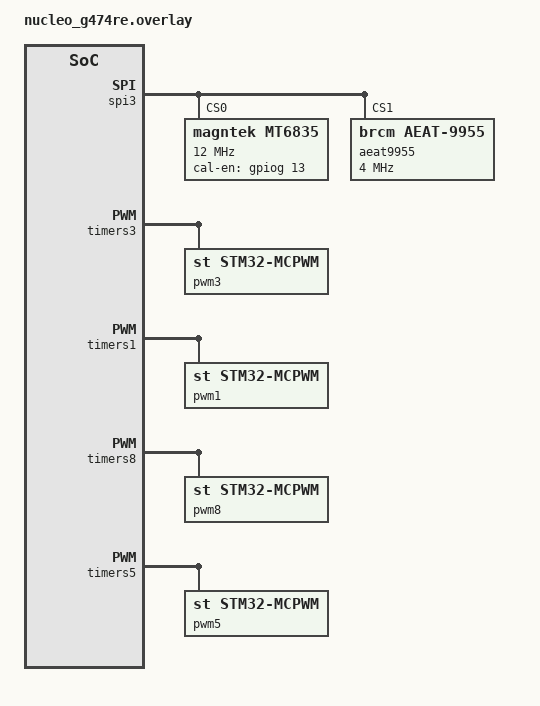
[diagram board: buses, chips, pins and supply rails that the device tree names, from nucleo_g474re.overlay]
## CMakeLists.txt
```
#-------------------------------------------------------------------------------
# Zephyr Example Application
#
# Copyright (c) 2021 Nordic Semiconductor ASA
# SPDX-License-Identifier: Apache-2.0

cmake_minimum_required(VERSION 3.13.1)
find_package(Zephyr REQUIRED HINTS $ENV{ZEPHYR_BASE})

project(app LANGUAGES C)

add_subdirectory(${CMAKE_CURRENT_LIST_DIR}/../modules/motor_core
		 ${CMAKE_CURRENT_BINARY_DIR}/motor_core)

target_sources(app PRIVATE 
	src/main.c
	src/app_update.c
	src/config.c
	src/shell/shell_commands.c
	src/shell/shell_params.c
	src/shell/shell_current.c
	src/shell/shell_velocity.c
	src/shell/shell_position.c
	src/shell/shell_regulators.c
	src/shell/shell_settings.c
	src/motor_settings.c
	src/motor_chopper_map.c
	src/shell/shell_state.c
	src/shell/shell_safety.c
	src/shell/shell_gate.c
	src/shell/shell_info.c
	src/shell/shell_observer.c
	src/shell/shell_encoder.c
	src/shell/shell_encoder_protocol.c
	src/shell/shell_encoder_trace.c
	src/shell/shell_encoder_capture.c
	src/shell/shell_fault.c
	src/shell/shell_parse.c
	src/shell/shell_motion_profile.c
	src/shell/shell_motion_sequence.c
	src/shell/shell_motion_chopper_calib.c
	src/shell/shell_motion_commission.c
	src/shell/shell_commission_auto.c
	src/shell/shell_commission_detent.c
	src/shell/shell_commission_ripple.c
	src/shell/shell_commission_electrical.c
	src/shell/shell_commission_encoder.c
	src/shell/shell_commission_validate.c
	src/motor_control_api.c
	src/motor_encoder_control.c
	src/motor_encoder_acquisition.c
	src/motor_operating_mode.c
	src/motor_state_transition.c
	src/motor_control_telemetry.c
	src/motor_control_loop.c
	src/motor_isr_io.c
	src/motor_states.c
	src/motor_states_calibration.c
	src/motor_states_online.c
	src/motor_hardware.c
)
target_include_directories(app PRIVATE
	include
)

target_link_libraries(app PRIVATE motor_core)

# Place interrupt stack in fast memory using code relocation
# The z_interrupt_stacks is in noinit sections from kernel/init.c
if(CONFIG_BOARD_NUCLEO_H753ZI OR CONFIG_BOARD_SMARTSTEPPER_V2)
  # H7 boards: relocate kernel init.c noinit to DTCM (includes z_interrupt_stacks)
  zephyr_code_relocate(FILES ${ZEPHYR_BASE}/kernel/init.c LOCATION DTCM_NOINIT)
elseif(CONFIG_BOARD_SMARTSTEPPER)
  # F4 board: relocate kernel init.c noinit to CCM (includes z_interrupt_stacks)  
  zephyr_code_relocate(FILES ${ZEPHYR_BASE}/kernel/init.c LOCATION CCM_NOINIT)
endif()
```

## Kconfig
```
# Copyright (c) 2021 Nordic Semiconductor ASA
# SPDX-License-Identifier: Apache-2.0
#
# This file is the application Kconfig entry point. All application Kconfig
# options can be defined here or included via other application Kconfig files.
# You can browse these options using the west targets menuconfig (terminal) or
# guiconfig (GUI).

menu "Zephyr"
source "Kconfig.zephyr"
endmenu

module = APP
module-str = APP
source "subsys/logging/Kconfig.template.log_config"

menu "Motor Control"

config RLS_PARAMETER_ESTIMATION
	bool "Enable RLS online parameter estimation"
	default n
	help
	  Enable Recursive Least Squares (RLS) online parameter estimation
	  for motor inductance and resistance. This feature uses PRBS excitation
	  and real-time RLS filtering to estimate motor parameters during operation.
	  Currently not functioning - disabled for future development.

config ENCODER_MAGNET_CHECK_ON_ARM
	bool "Block arm when AEAT-9955 reports MHI/MLO alarm"
	default n
	help
	  If enabled, `motor arm` reads AEAT-9955 error status register 0x29
	  and rejects arming when MHI or MLO alarm bits are set.
	  Keep disabled for bring-up if magnet alignment/strength is not finalized.

config MOTOR_CURRENT_DECOUPLING
	bool "Enable d/q decoupling and back-EMF feedforward"
	default n
	help
	  Adds model-based feedforward terms to the d-axis and q-axis current loops:
	  vd_ff = -omega_e * Lq * iq and
	  vq_ff =  omega_e * (Ld * id + psi_f).

config MOTOR_VELOCITY_NOTCH_FILTER
	bool "Enable velocity feedback notch filter"
	default n
	help
	  Enables a second-order notch filter on measured mechanical speed
	  before velocity error computation.

config MOTOR_VELOCITY_NOTCH_FREQ_HZ
	int "Velocity notch center frequency (Hz)"
	default 300
	range 1 5000
	depends on MOTOR_VELOCITY_NOTCH_FILTER
	help
	  Center frequency of the velocity notch filter.

config MOTOR_VELOCITY_NOTCH_Q_MILLI
	int "Velocity notch Q x1000"
	default 2000
	range 100 20000
	depends on MOTOR_VELOCITY_NOTCH_FILTER
	help
	  Notch filter quality factor scaled by 1000.
	  Example: 2000 => Q = 2.0.

config MOTOR_OUTER_LOOP_MPR
	bool "Use model-predictive outer loops (velocity + position)"
	default y
	help
	  Enables SpinTAC-style model predictive regulators for the velocity and
	  position outer loops. Disable to use legacy PI outer loops.

config MOTOR_OUTER_LOOP_MPR_RUNTIME_DEFAULT
	bool "Default runtime outer loop to MPR"
	depends on MOTOR_OUTER_LOOP_MPR
	default n
	help
	  Selects MPR as the boot-time runtime outer-loop mode. Leave this
	  disabled for bring-up and uncommissioned hardware so encoder velocity
	  modes start with the simpler PI regulator. MPR can still be enabled at
	  runtime with motor params set outer_loop_mode 1.

config MOTOR_VELOCITY_DOB
	bool "Enable velocity disturbance observer"
	default y
	help
	  Enables the velocity-loop disturbance observer and Iq feedforward
	  compensation path. Disable this in minimal builds to remove DOB work
	  from the ISR outer-loop path.

config MOTOR_VELOCITY_DOB_RUNTIME_DEFAULT
	bool "Default runtime velocity DOB to enabled"
	depends on MOTOR_VELOCITY_DOB
	default n
	help
	  Selects whether the velocity disturbance observer is enabled at boot.
	  Leave this disabled until mechanical parameters and observer gains are
	  commissioned. DOB can still be enabled at runtime with
	  motor velocity dob enable 1.

config MOTOR_ISR_COMMISSION_CAPTURE
	bool "Enable ISR commissioning capture updates"
	default y
	help
	  Enables control-loop observation capture for explicit commissioning
	  workflows. Disable in production/minimal builds if commissioning is not
	  compiled into the target workflow.

config MOTOR_ISR_ENCODER_CAPTURE
	bool "Enable ISR encoder capture telemetry"
	default y
	help
	  Enables the operator-triggered encoder comparison capture path in the
	  control loop. Disable to compile capture preparation out of the ISR.

config MOTOR_ISR_ENCODER_RAW_TRACE
	bool "Enable ISR raw encoder trace telemetry"
	default y
	help
	  Enables the operator-triggered raw encoder trace path in the control
	  loop. Disable to compile raw trace publication out of the ISR.

config MOTOR_ISR_FAULT_SNAPSHOT
	bool "Enable ISR fault snapshot telemetry"
	default y
	help
	  Enables operator-triggered fault snapshot packing in the control loop.
	  Disable in production/minimal builds to remove this telemetry path.

config MOTOR_ISR_SANITY_CHECKS
	bool "Enable runtime finite/sanity checks in ISR control path"
	default y
	help
	  Enables finite-value guards in the fast ISR control path.
	  Keep enabled during bring-up/debugging for fault containment.
	  Disable in performance-focused builds to remove redundant hot-path checks
	  after the signal chain and configuration are validated.

endmenu

menu "Field Update"

config APP_UPDATE_AUTO_CONFIRM_AFTER_BOOT
	bool "Automatically confirm MCUboot test image after boot delay"
	depends on BOOTLOADER_MCUBOOT
	default n
	help
	  If enabled, the application confirms a pending MCUboot test image after
	  APP_UPDATE_AUTO_CONFIRM_DELAY_MS. Leave this disabled for bring-up and
	  validation so an unconfirmed field-update image rolls back unless an
	  operator explicitly runs `mcuboot confirm`.

config APP_UPDATE_AUTO_CONFIRM_DELAY_MS
	int "Delay before automatically confirming a test image"
	depends on APP_UPDATE_AUTO_CONFIRM_AFTER_BOOT
	default 30000
	range 1000 600000
	help
	  Delay after app init before writing image_ok in the MCUboot trailer.
	  This gives basic init, networking, and motor safety checks time to fail
	  before the image is made permanent.

endmenu
```

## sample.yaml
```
# This file is provided so that the application can be compiled using Twister,
# the Zephyr testing tool. In this file, multiple combinations can be specified,
# so that you can easily test all of them locally or in CI.
sample:
  description: Example application
  name: example-application 
common:
  build_only: true
  integration_platforms:
    - smartchopper
tests:
  app.default: {}
  app.debug:
    extra_overlay_confs:
      - debug.conf
```

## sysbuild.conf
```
# Enable MCUboot when this application is built with `west build --sysbuild`.
SB_CONFIG_BOOTLOADER_MCUBOOT=y

# Development/HIL signing path. This avoids the RSA/mbedTLS path and uses the
# MCUboot development ECDSA-P256 key. Production must override this key policy.
SB_CONFIG_BOOT_SIGNATURE_TYPE_ECDSA_P256=y

# Keep the first field-update implementation revert-capable without a scratch
# partition. The app must confirm a pending image after health checks.
SB_CONFIG_MCUBOOT_MODE_SWAP_USING_OFFSET=y
```

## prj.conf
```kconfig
# Copyright (c) 2025 Rubus Technologies Inc
# SPDX-License-Identifier: Apache-2.0
#
# This file contains selected Kconfig options for the application.

CONFIG_BOOT_BANNER=y
CONFIG_BOOT_DELAY=2000

# The Cortex-M CONFIG_USE_SWITCH path faults in arm-m-switch.c when the
# zero-latency ADC FOC ISR uses the FPU while shell/kernel FP activity is
# active. Use the legacy exception/swap path for this hard-real-time FPU ISR.
# CONFIG_USE_SWITCH is not set

CONFIG_GPIO=y
CONFIG_I2C=y
CONFIG_SPI=y
CONFIG_DMA=y
CONFIG_EEPROM=y
CONFIG_FLASH=y
CONFIG_HWINFO=y
CONFIG_RESET=y
CONFIG_SENSOR=y
CONFIG_PWM=y
CONFIG_GATE_DRIVER=y
CONFIG_TIMER_IC=y

# Persistent configuration storage. Commissioned motor parameters should use
# the Settings subsystem with ZMS on the internal-flash settings partition.
CONFIG_SETTINGS=y
CONFIG_FLASH_MAP=y
CONFIG_ZMS=y
CONFIG_SETTINGS_ZMS=y
CONFIG_SETTINGS_SHELL=y

# MCUboot field-update support. Sysbuild builds/signs the bootloader-managed
# image; these options provide runtime image upload/status/confirmation support
# in the application.
CONFIG_NET_BUF=y
CONFIG_ZCBOR=y
CONFIG_CRC=y
CONFIG_STREAM_FLASH=y
CONFIG_IMG_MANAGER=y
CONFIG_IMG_ERASE_PROGRESSIVELY=y
CONFIG_IMG_ENABLE_IMAGE_CHECK=y
CONFIG_MCUBOOT_SHELL=y
CONFIG_MCUMGR=y
CONFIG_MCUMGR_GRP_IMG=y
CONFIG_MCUMGR_GRP_IMG_VERBOSE_ERR=y
CONFIG_MCUMGR_GRP_OS=y
CONFIG_MCUMGR_GRP_OS_INFO=y
CONFIG_MCUMGR_GRP_OS_BOOTLOADER_INFO=y
CONFIG_MCUMGR_GRP_OS_MCUMGR_PARAMS=y
CONFIG_MCUMGR_TRANSPORT_NETBUF_COUNT=4
CONFIG_MCUMGR_TRANSPORT_NETBUF_SIZE=2048
CONFIG_MCUMGR_TRANSPORT_WORKQUEUE_STACK_SIZE=3072

# CONFIG_SPI_STM32_USE_HW_SS=y
CONFIG_SPI_STM32_INTERRUPT=y

CONFIG_FPU=y
CONFIG_ZERO_LATENCY_IRQS=y
CONFIG_ZERO_LATENCY_LEVELS=1

# Timing functions for ISR performance measurement
CONFIG_TIMING_FUNCTIONS=y

CONFIG_CONSOLE=y
CONFIG_PRINTK=y

CONFIG_SHELL=y
# CONFIG_SHELL_MINIMAL=y
CONFIG_SHELL_STACK_SIZE=4096
CONFIG_SHELL_CMD_BUFF_SIZE=256
CONFIG_SHELL_PRINTF_BUFF_SIZE=256
CONFIG_SHELL_HELP=y
CONFIG_SHELL_HISTORY=y
CONFIG_SHELL_HISTORY_BUFFER=128
CONFIG_SHELL_TAB=y
CONFIG_SHELL_TAB_AUTOCOMPLETION=y

CONFIG_ADC_SHELL=y
CONFIG_SENSOR_SHELL=y
CONFIG_SPI_SHELL=y
CONFIG_I2C_SHELL=y
CONFIG_GPIO_SHELL=y
CONFIG_HWINFO_SHELL=y
CONFIG_FLASH_SHELL=y
CONFIG_EEPROM_SHELL=y

CONFIG_STATS=y
CONFIG_STATS_SHELL=y

CONFIG_DSP=y
CONFIG_CMSIS_DSP=y
CONFIG_CMSIS_DSP_CONTROLLER=y
CONFIG_CMSIS_DSP_FILTERING=y

CONFIG_RTIO=y
CONFIG_SPI_RTIO=y
CONFIG_SENSOR_ASYNC_API=y
CONFIG_RTIO_WORKQ_THREADS_POOL_STACK_SIZE=2048

CONFIG_SRAM_VECTOR_TABLE=y
CONFIG_SRAM_SW_ISR_TABLE=y

CONFIG_SMF=y
CONFIG_SMF_ANCESTOR_SUPPORT=y
CONFIG_SMF_INITIAL_TRANSITION=y

CONFIG_ISR_STACK_SIZE=4096

CONFIG_REBOOT=y
```

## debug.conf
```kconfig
# Copyright (c) 2021 Nordic Semiconductor ASA
# SPDX-License-Identifier: Apache-2.0
#
# This is a Kconfig fragment which can be used to enable debug-related options
# in the application. See the README for more details.

# compiler
CONFIG_DEBUG_OPTIMIZATIONS=y
# CONFIG_SPEED_OPTIMIZATIONS=y


# logging
CONFIG_LOG=y
CONFIG_APP_LOG_LEVEL_DBG=y

# Debug/HIL shell workflows can paste long motor profile commands and command
# bursts while the target is also printing logs. Keep these larger than
# production defaults to avoid serial RX overruns during bench validation.
CONFIG_SHELL_CMD_BUFF_SIZE=512
CONFIG_SHELL_HISTORY_BUFFER=1024
CONFIG_SHELL_BACKEND_SERIAL_RX_RING_BUFFER_SIZE=8192

CONFIG_CORTEX_M_DEBUG_MONITOR_HOOK=y
CONFIG_SEGGER_DEBUGMON=y
# CONFIG_NULL_POINTER_EXCEPTION_DETECTION_DWT=y
# CONFIG_NULL_POINTER_EXCEPTION_DETECTION_MPU=y
# CONFIG_PWM_LOG_LEVEL_DBG=y
```

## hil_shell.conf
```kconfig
# SPDX-License-Identifier: Apache-2.0
#
# Hardware-in-loop serial shell settings.
#
# Use this for real motor tests where command reliability matters but full
# debug logging/debug compiler settings are not desired.

CONFIG_SHELL_CMD_BUFF_SIZE=512
CONFIG_SHELL_HISTORY_BUFFER=1024
CONFIG_SHELL_BACKEND_SERIAL_RX_RING_BUFFER_SIZE=8192

# HIL control validation runs a full FOC path from a zero-latency ADC ISR
# and can also exercise shell float parsing while the ISR is active. Keep
# extra stack margin here while validating FPU preservation and trace paths.
CONFIG_ISR_STACK_SIZE=8192
CONFIG_SHELL_STACK_SIZE=8192
```

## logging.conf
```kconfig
CONFIG_LOG=y
CONFIG_LOG_CMDS=y
CONFIG_LOG_BUFFER_SIZE=4096
CONFIG_LOG_RATELIMIT=y
# CONFIG_LOG_BACKEND_SHOW_COLOR=n
# CONFIG_LOG_PROCESS_THREAD_STACK_SIZE=1024

# CONFIG_LOG_MODE_DEFERRED=y
# CONFIG_LOG_PROCESS_THREAD=y
# CONFIG_LOG_PROCESS_THREAD_SLEEP_MS=100
```

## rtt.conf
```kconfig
# Copyright (c) 2021 Nordic Semiconductor ASA
# SPDX-License-Identifier: Apache-2.0
#
# This is a Kconfig fragment which can be used to enable Segger RTT options.
# It should be used in conjunction with debug.conf.

# segger RTT console
CONFIG_LOG_MODE_DEFERRED=y
CONFIG_LOG_PROCESS_THREAD=y
CONFIG_LOG_PROCESS_THREAD_SLEEP_MS=100

CONFIG_RTT_CONSOLE=y
CONFIG_USE_SEGGER_RTT=y
CONFIG_LOG_BACKEND_RTT=y
CONFIG_LOG_BACKEND_UART=n
```

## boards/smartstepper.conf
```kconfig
# Copyright (c) 2025 Rubus Technologies Inc
# SPDX-License-Identifier: Apache-2.0
#
# This file contains selected Kconfig options for the application.

CONFIG_STM32_FLASH_PREFETCH=y
```

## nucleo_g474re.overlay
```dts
#include <zephyr/dt-bindings/timer/stm32-timer.h>
#include <zephyr/dt-bindings/pwm/pwm.h>
#include <dt-bindings/pwm/stm32-mcpwm.h>

&dmamux1 {
	status = "okay";
};

&dma1 {
	status = "okay";
};

&dma2 {
	status = "okay";
};

&spi3 {
	compatible = "rubus,stm32-spi";
	status = "okay";

	dmas = <&dmamux1 2 15 (STM32_DMA_PERIPH_TX | STM32_DMA_MEM_8BITS)>,
		   <&dmamux1 3 14 (STM32_DMA_PERIPH_RX | STM32_DMA_MEM_8BITS)>;

	dma-names = "tx", "rx";

	mt6835: mt6835@0 {
		compatible = "magntek,mt6835";
		reg = <0>;
		spi-max-frequency = <DT_FREQ_M(12)>;
		cal-en-gpios = <&gpiog 13 GPIO_ACTIVE_HIGH>;
		status = "okay";
	};
	aeat9955: aeat9955@1 {
		compatible = "brcm,aeat-9955";
		reg = <1>;
		spi-max-frequency = <DT_FREQ_M(4)>;
		status = "okay";
	};
};

/delete-node/ &pwm3;
&timers3 {
	compatible = "rubus,stm32-timers";
	st,prescaler = <0>;
	status = "okay";
	st,master-mode;
	st,countermode = <STM32_TIM_COUNTERMODE_UP>;
	st,master-mode-selection = <0x10>; // LL_TIM_TRGO_ENABLE

	pwm3:mcpwm {
		compatible = "st,stm32-mcpwm";
		period = <PWM_KHZ(20)>;
		status = "okay";
		#pwm-cells = <2>;
	};
};

&timers1 {
	compatible = "rubus,stm32-timers";
	st,prescaler = <0>;
	status = "okay";
	st,countermode = <STM32_TIM_COUNTERMODE_CENTER_UP_DOWN>;
	st,master-mode;
	st,slave-mode;
	st,slave-mode-selection = <0x6>; // LL_TIM_SLAVEMODE_TRIGGER
	st,trigger-selection = <0x20>; // ITR2

	st,master-mode-selection = <0x70>; // LL_TIM_TRGO_OC4REF

	pwm1:mcpwm {
		compatible = "st,stm32-mcpwm";
		pinctrl-0 = <&tim1_ch1_pa8 &tim1_ch4_pc3>;
		pinctrl-names = "default";
		period = <PWM_KHZ(20)>;
		status = "okay";
		#pwm-cells = <2>;
	};
};

&timers8 {
	compatible = "rubus,stm32-timers";
	st,prescaler = <0>;
	status = "okay";
	st,countermode = <STM32_TIM_COUNTERMODE_CENTER_UP_DOWN>;
	st,slave-mode;
	// st,slave-mode-selection = <0x4>; // LL_TIM_SLAVEMODE_RESET
	st,slave-mode-selection = <0x6>; // LL_TIM_SLAVEMODE_TRIGGER
	st,trigger-selection = <0x20>; // ITR2

	pwm8:mcpwm {
		compatible = "st,stm32-mcpwm";
		pinctrl-0 = <&tim8_ch1_pc6>;
		pinctrl-names = "default";
		period = <PWM_KHZ(20)>;
		status = "okay";
		#pwm-cells = <2>;
	};
};

&timers5 {
	compatible = "rubus,stm32-timers";
	st,prescaler = <0>;
	status = "okay";
	st,countermode = <STM32_TIM_COUNTERMODE_UP>;
	st,slave-mode;
	st,slave-mode-selection = <0x6>; // LL_TIM_SLAVEMODE_TRIGGER
	st,trigger-selection = <0x20>; // ITR2

	pwm5:mcpwm {
		compatible = "st,stm32-mcpwm";
		pinctrl-0 = <&tim5_ch1_pb2>;
		pinctrl-names = "default";
		period = <PWM_KHZ(20)>;
		status = "okay";
		#pwm-cells = <2>;
	};
};

/ {
		/* Current sampler config, ADC channels */
	/* FIXME: Add drv8328 driver */
	/* drv8328 needs function to wiggle SLEEP to reset an error */
	// Need to configure ADC trigger LL_TIM_CC_EnableChannel(config->timer, LL_TIM_CHANNEL_4)
	control {
		// ADC for current (A, B), bus voltage
		// adc-channels = <&adc1 0>,
		// 	<&adc1 1>,
		// 	<&adc1 5>;
		// current-sense-resistor-uohms = <10000>;
		// current-sense-gain = <50>;
		// phase-inductance-uh = <3400>;
		// phase-resistance-mohms = <5600>;

		current-sense-resistor-uohms = <10000>;
		current-sense-gain = <50>;
		phase-inductance-uh = <3000>;
		phase-resistance-mohms = <1600>;

		pwms = <&pwm1 4 (PWM_POLARITY_NORMAL | STM32_PWM_OC_MODE_PWM2)>;
		amp1 {
			compatible = "ti,drv8328";

			/* If FAULT interrupt is used instead of BRKIN */
			/* Fault interrupt should turn off PWM */
			// fault-gpios = <&gpioi 4 (GPIO_ACTIVE_LOW | GPIO_PULL_UP)>;

			// sleep-gpios = <&gpiog 14 GPIO_ACTIVE_HIGH>;

			pwms = <&pwm1 1 PWM_POLARITY_NORMAL>,
				   <&pwm1 2 PWM_POLARITY_NORMAL>;
		};

		amp2 {
			compatible = "ti,drv8328";

			/* If FAULT interrupt is used instead of BRKIN */
			// fault-gpios = <&gpiob 15 (GPIO_ACTIVE_LOW | GPIO_PULL_UP)>;

			// sleep-gpios = <&gpiod 8 GPIO_ACTIVE_HIGH>;

			pwms = <&pwm8 1 PWM_POLARITY_NORMAL>,
				   <&pwm8 2 PWM_POLARITY_NORMAL>;
		};
	};
};
```

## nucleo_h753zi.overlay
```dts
#include <zephyr/dt-bindings/timer/stm32-timer.h>
#include <zephyr/dt-bindings/pwm/pwm.h>
#include <dt-bindings/pwm/stm32-mcpwm.h>

/ {
	aliases {
		encoder1 = &aeat9955;
	};
};

&dmamux1 {
	status = "okay";
};

&dma1 {
	status = "okay";
};

&dma2 {
	status = "okay";
};

&spi3 {
	status = "okay";
	fifo-enable;

	pinctrl-0 = <&spi3_sck_pb3 &spi3_miso_pb4 &spi3_mosi_pb5 &spi3_nss_pa15>;
	// cs-gpios = <&gpioa 15 (GPIO_ACTIVE_LOW | GPIO_PULL_UP)>;
	pinctrl-names = "default";

	mt6835: mt6835@0 {
		compatible = "magntek,mt6835";
		reg = <0>;
		spi-max-frequency = <DT_FREQ_M(12)>;
		cal-en-gpios = <&gpiog 13 GPIO_ACTIVE_HIGH>;
		status = "okay";
	};
	aeat9955: aeat9955@1 {
		compatible = "brcm,aeat-9955";
		reg = <1>;
		spi-max-frequency = <DT_FREQ_M(4)>;
		status = "okay";
	};
};

// TIM1 is master for TIM3 and TIM8 synchronization
&timers1 {
	compatible = "rubus,stm32-timers";
	st,prescaler = <0>;
	status = "okay";
	st,countermode = <STM32_TIM_COUNTERMODE_CENTER_UP_DOWN>;
	st,master-mode;
	st,master-mode-selection = <0x10>; // LL_TIM_TRGO_ENABLE - sync TIM3 and TIM8

	pwm1:mcpwm {
		compatible = "st,stm32-mcpwm";
		pinctrl-0 = <&tim1_ch1_pa8 &tim1_ch2_pa9 &tim1_ch4_pe14>;
		pinctrl-names = "default";
		period = <PWM_KHZ(20)>;
		status = "okay";
		st,cc-dma-channels = <4>;
		#pwm-cells = <2>;
	};
};

// TIM3 is slave of TIM1
&timers3 {
	compatible = "rubus,stm32-timers";
	st,prescaler = <0>;
	status = "okay";
	st,countermode = <STM32_TIM_COUNTERMODE_UP>;
	st,slave-mode;
	st,slave-mode-selection = <0x6>; // LL_TIM_SLAVEMODE_TRIGGER
	st,trigger-selection = <0x00>; // ITR0 = TIM1

	pwm3:mcpwm {
		compatible = "st,stm32-mcpwm";
		pinctrl-0 = <&tim3_ch1_pc6>;
		pinctrl-names = "default";
		period = <PWM_KHZ(20)>;
		status = "okay";
		#pwm-cells = <2>;
	};
};

// TIM8 is slave of TIM1
&timers8 {
	compatible = "rubus,stm32-timers";
	st,prescaler = <0>;
	status = "okay";
	st,countermode = <STM32_TIM_COUNTERMODE_CENTER_UP_DOWN>;
	st,slave-mode;
	st,slave-mode-selection = <0x6>; // LL_TIM_SLAVEMODE_TRIGGER
	st,trigger-selection = <0x00>; // ITR0 = TIM1

	pwm8:mcpwm {
		compatible = "st,stm32-mcpwm";
		pinctrl-0 = <&tim8_ch1_pc6 &tim8_ch2_pc7>;
		pinctrl-names = "default";
		period = <PWM_KHZ(20)>;
		status = "okay";
		#pwm-cells = <2>;
	};
};

// &pinctrl {
//     tim1_bkin_pe15: tim1_bkin_pe15 {
//         bias-pull-up;
//     };
// 	tim8_bkin_pi4: tim8_bkin_pi4 {
// 		bias-pull-up;
// 	};
// };

&adc1 {
	compatible = "st,stm32-adc-injected";
	pinctrl-0 = <&adc1_inp15_pa3 &adc1_inp11_pc1 &adc1_inp10_pc0 >;
	pinctrl-names = "default";
	st,adc-clock-source = "SYNC";
	st,adc-prescaler = <4>;
	status = "okay";

	st,adc-trigger-source = "tim1_cc4";

	// vref-mv = <3000>;

	#address-cells = <1>;
	#size-cells = <0>;

	channel@3 {
		reg = <3>;
		zephyr,gain = "ADC_GAIN_1";
		zephyr,reference = "ADC_REF_INTERNAL";
		zephyr,acquisition-time = <ADC_ACQ_TIME_DEFAULT>;
		zephyr,resolution = <16>;
	};

	channel@C {
		reg = <12>;
		zephyr,gain = "ADC_GAIN_1";
		zephyr,reference = "ADC_REF_INTERNAL";
		zephyr,acquisition-time = <ADC_ACQ_TIME_DEFAULT>;
		zephyr,resolution = <16>;
	};

	channel@A {
		reg = <10>;
		zephyr,gain = "ADC_GAIN_1";
		zephyr,reference = "ADC_REF_INTERNAL";
		zephyr,acquisition-time = <ADC_ACQ_TIME_DEFAULT>;
		zephyr,resolution = <16>;
	};
};

/ {
		/* Current sampler config, ADC channels */
	/* FIXME: Add drv8328 driver */
	/* drv8328 needs function to wiggle SLEEP to reset an error */
	// Need to configure ADC trigger LL_TIM_CC_EnableChannel(config->timer, LL_TIM_CHANNEL_4)
	control {
		// ADC for current (A, B), bus voltage
		// adc-channels = <&adc1 0>,
		// 	<&adc1 1>,
		// 	<&adc1 5>;
		// current-sense-resistor-uohms = <10000>;
		// current-sense-gain = <50>;
		// phase-inductance-uh = <3400>;
		// phase-resistance-mohms = <5600>;

		current-sense-resistor-uohms = <10000>;
		current-sense-gain = <50>;
		phase-inductance-uh = <3000>;
		phase-resistance-mohms = <1600>;

		pwms = <&pwm1 4 (PWM_POLARITY_NORMAL | STM32_PWM_OC_MODE_PWM2)>;
		amp1 {
			compatible = "ti,drv8328";

			/* If FAULT interrupt is used instead of BRKIN */
			/* Fault interrupt should turn off PWM */
			// fault-gpios = <&gpioi 4 (GPIO_ACTIVE_LOW | GPIO_PULL_UP)>;

			// sleep-gpios = <&gpiog 14 GPIO_ACTIVE_HIGH>;

			pwms = <&pwm1 1 PWM_POLARITY_NORMAL>,
				   <&pwm1 2 PWM_POLARITY_NORMAL>;
		};

		amp2 {
			compatible = "ti,drv8328";

			/* If FAULT interrupt is used instead of BRKIN */
			// fault-gpios = <&gpiob 15 (GPIO_ACTIVE_LOW | GPIO_PULL_UP)>;

			// sleep-gpios = <&gpiod 8 GPIO_ACTIVE_HIGH>;

			pwms = <&pwm8 1 PWM_POLARITY_NORMAL>,
				   <&pwm8 2 PWM_POLARITY_NORMAL>;
		};
	};
};
```

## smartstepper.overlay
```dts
/*
 * Copyright (c) 2021 Nordic Semiconductor ASA
 * SPDX-License-Identifier: Apache-2.0
 */

// / {
// 		/* Current sampler config, ADC channels */
// 	/* FIXME: Add drv8328 driver */
// 	/* drv8328 needs function to wiggle SLEEP to reset an error */
// 	// Need to configure ADC trigger LL_TIM_CC_EnableChannel(config->timer, LL_TIM_CHANNEL_4)
// 	control {
// 		// ADC for current (A, B), bus voltage
// 		// adc-channels = <&adc1 0>,
// 		// 	<&adc1 1>,
// 		// 	<&adc1 5>;
// 		// current-sense-resistor-uohms = <10000>;
// 		// current-sense-gain = <50>;
// 		// phase-inductance-uh = <3400>;
// 		// phase-resistance-mohms = <5600>;

// 		current-sense-resistor-uohms = <10000>;
// 		current-sense-gain = <50>;
// 		d-phase-inductance-uh = <3000>;
// 		q-phase-inductance-uh = <3000>;
// 		phase-resistance-mohms = <1600>;

// 		pwms = <&pwm1 4 (PWM_POLARITY_NORMAL | STM32_PWM_OC_MODE_PWM2)>;
// 		amp1 {
// 			compatible = "ti,drv8328";

// 			/* If FAULT interrupt is used instead of BRKIN */
// 			/* Fault interrupt should turn off PWM */
// 			// fault-gpios = <&gpioi 4 (GPIO_ACTIVE_LOW | GPIO_PULL_UP)>;

// 			sleep-gpios = <&gpiog 14 GPIO_ACTIVE_HIGH>;

// 			pwms = <&pwm1 1 PWM_POLARITY_NORMAL>,
// 				   <&pwm1 2 PWM_POLARITY_NORMAL>;
// 		};

// 		amp2 {
// 			compatible = "ti,drv8328";

// 			/* If FAULT interrupt is used instead of BRKIN */
// 			// fault-gpios = <&gpiob 15 (GPIO_ACTIVE_LOW | GPIO_PULL_UP)>;

// 			sleep-gpios = <&gpiod 8 GPIO_ACTIVE_HIGH>;

// 			pwms = <&pwm8 1 PWM_POLARITY_NORMAL>,
// 				   <&pwm8 2 PWM_POLARITY_NORMAL>;
// 		};
// 	};
// };


// / {
// 	model = "Smart Stepper Controller";
// 	compatible = "rubus,smartstepper";

// 	aliases {
// 		encoder1 = &aeat9955;
// 	};
// };

&dma1 {
	status = "okay";
};

&dma2 {
	status = "okay";
};

// &spi1 {
// 	dmas = <&dma2 3 5 (STM32_DMA_PERIPH_TX | STM32_DMA_MEM_8BITS)>,
// 		<&dma2 3 0 (STM32_DMA_PERIPH_RX | STM32_DMA_MEM_8BITS)>;

// 	dma-names = "tx", "rx";
// };

&spi3 {
	dmas = <&dma2 3 5 (STM32_DMA_PERIPH_TX | STM32_DMA_MEM_8BITS)>,
		   <&dma2 3 0 (STM32_DMA_PERIPH_RX | STM32_DMA_MEM_8BITS)>;

	dma-names = "tx", "rx";
	status = "okay";

	aeat9955: aeat9955@0 {
		compatible = "brcm,aeat-9955";
		reg = <0>;
		spi-max-frequency = <DT_FREQ_M(4)>;
		status = "okay";
	};
};

// &timers1 {
// 	compatible = "rubus,stm32-timers";
// 	st,prescaler = <0>;
// 	status = "okay";
// 	st,countermode = <STM32_TIM_COUNTERMODE_CENTER_UP_DOWN>;
// 	st,master-mode-selection = <0x70>; // LL_TIM_TRGO_OC4REF

// 	pwm1:mcpwm {
// 		period = <PWM_KHZ(20)>;
// 		status = "okay";
// 	};
// };

// &timers8 {
// 	compatible = "rubus,stm32-timers";
// 	st,prescaler = <0>;
// 	status = "okay";
// 	st,countermode = <STM32_TIM_COUNTERMODE_CENTER_UP_DOWN>;
// 	st,slave-mode;
// 	st,slave-mode-selection = <0x6>; // LL_TIM_SLAVEMODE_TRIGGER
// 	st,trigger-selection = <0>; // ITR0

// 	pwm8:mcpwm {
// 		period = <PWM_KHZ(20)>;
// 		status = "okay";
// 	};
// };

&timers3 {
	compatible = "rubus,stm32-timers";
	st,prescaler = <0>;
	status = "okay";
	st,master-mode;
	st,countermode = <STM32_TIM_COUNTERMODE_UP>;
	st,master-mode-selection = <0x10>; // LL_TIM_TRGO_ENABLE

	pwm3:mcpwm {
		period = <PWM_KHZ(20)>;
		status = "okay";
		// #pwm-cells = <2>;
	};
};

&timers1 {
	compatible = "rubus,stm32-timers";
	st,prescaler = <0>;
	status = "okay";
	st,countermode = <STM32_TIM_COUNTERMODE_CENTER_UP_DOWN>;
	st,master-mode;
	st,slave-mode;
	st,slave-mode-selection = <0x6>; // LL_TIM_SLAVEMODE_TRIGGER
	st,trigger-selection = <0x20>; // ITR2

	st,master-mode-selection = <0x70>; // LL_TIM_TRGO_OC4REF

	pwm1:mcpwm {
		period = <PWM_KHZ(20)>;
		status = "okay";
		// #pwm-cells = <2>;
	};
};

&timers8 {
	compatible = "rubus,stm32-timers";
	st,prescaler = <0>;
	status = "okay";
	st,countermode = <STM32_TIM_COUNTERMODE_CENTER_UP_DOWN>;
	st,slave-mode;
	// st,slave-mode-selection = <0x4>; // LL_TIM_SLAVEMODE_RESET
	st,slave-mode-selection = <0x6>; // LL_TIM_SLAVEMODE_TRIGGER
	st,trigger-selection = <0x20>; // ITR2

	pwm8:mcpwm {
		compatible = "st,stm32-mcpwm";
		period = <PWM_KHZ(20)>;
		status = "okay";
		// #pwm-cells = <2>;
	};
};

&timers5 {
	compatible = "rubus,stm32-timers";
	st,prescaler = <0>;
	status = "okay";
	st,countermode = <STM32_TIM_COUNTERMODE_UP>;
	st,slave-mode;
	st,slave-mode-selection = <0x6>; // LL_TIM_SLAVEMODE_TRIGGER
	st,trigger-selection = <0x20>; // ITR2

	pwm5:mcpwm {
		compatible = "st,stm32-mcpwm";
		period = <PWM_KHZ(20)>;
		status = "okay";
		#pwm-cells = <2>;
	};
};
```

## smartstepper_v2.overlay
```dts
/*
 * Copyright (c) 2021 Nordic Semiconductor ASA
 * SPDX-License-Identifier: Apache-2.0
 */

#include <zephyr/dt-bindings/dma/stm32_dma.h>

// / {
// 		/* Current sampler config, ADC channels */
// 	/* FIXME: Add drv8328 driver */
// 	/* drv8328 needs function to wiggle SLEEP to reset an error */
// 	// Need to configure ADC trigger LL_TIM_CC_EnableChannel(config->timer, LL_TIM_CHANNEL_4)
// 	control {
// 		// ADC for current (A, B), bus voltage
// 		// adc-channels = <&adc1 0>,
// 		// 	<&adc1 1>,
// 		// 	<&adc1 5>;
// 		// current-sense-resistor-uohms = <10000>;
// 		// current-sense-gain = <50>;
// 		// phase-inductance-uh = <3400>;
// 		// phase-resistance-mohms = <5600>;

// 		current-sense-resistor-uohms = <10000>;
// 		current-sense-gain = <50>;
// 		d-phase-inductance-uh = <3000>;
// 		q-phase-inductance-uh = <3000>;
// 		phase-resistance-mohms = <1600>;

// 		pwms = <&pwm1 4 (PWM_POLARITY_NORMAL | STM32_PWM_OC_MODE_PWM2)>;
// 		amp1 {
// 			compatible = "ti,drv8328";

// 			/* If FAULT interrupt is used instead of BRKIN */
// 			/* Fault interrupt should turn off PWM */
// 			// fault-gpios = <&gpioi 4 (GPIO_ACTIVE_LOW | GPIO_PULL_UP)>;

// 			sleep-gpios = <&gpiog 14 GPIO_ACTIVE_HIGH>;

// 			pwms = <&pwm1 1 PWM_POLARITY_NORMAL>,
// 				   <&pwm1 2 PWM_POLARITY_NORMAL>;
// 		};

// 		amp2 {
// 			compatible = "ti,drv8328";

// 			/* If FAULT interrupt is used instead of BRKIN */
// 			// fault-gpios = <&gpiob 15 (GPIO_ACTIVE_LOW | GPIO_PULL_UP)>;

// 			sleep-gpios = <&gpiod 8 GPIO_ACTIVE_HIGH>;

// 			pwms = <&pwm8 1 PWM_POLARITY_NORMAL>,
// 				   <&pwm8 2 PWM_POLARITY_NORMAL>;
// 		};
// 	};
// };


/ {
	model = "Smart Stepper Controller";
	compatible = "rubus,smartstepper";

	aliases {
		encoder1 = &aeat9955;
	};
};

&spi2 {
	status = "okay";

	// dmas = <&dma2 4 6 STM32_DMA_PERIPH_TX STM32_DMA_FIFO_FULL>,
	// 	   <&dma1 3 0 STM32_DMA_PERIPH_RX STM32_DMA_FIFO_FULL>;
	// dma-names = "tx", "rx";
};

&spi3 {
	status = "okay";

	// dmas = <&dmamux1 2 15 (STM32_DMA_PERIPH_TX | STM32_DMA_MEM_8BITS)>,
	// 	   <&dmamux1 3 14 (STM32_DMA_PERIPH_RX | STM32_DMA_MEM_8BITS)>;

	// dma-names = "tx", "rx";

	aeat9955: aeat9955@0 {
		compatible = "brcm,aeat-9955";
		reg = <0>;
		spi-max-frequency = <DT_FREQ_M(4)>;
		status = "okay";
	};
};

// Timer 2 is used for input capture of clock generator and photo-interrupter
// &timers2 {
// 	compatible = "rubus,stm32-timers";
// 	st,prescaler = <0>;
// 	status = "okay";
// 	st,master-mode;
// 	st,countermode = <STM32_TIM_COUNTERMODE_UP>;

// 	triggers: triggers {
// 		compatible = "st,stm32-timer-ic";
// 		pinctrl-0 = <&tim2_ch1_pa0 &tim2_ch2_pb3>;
// 		pinctrl-names = "default";
// 		status = "okay";
// 	};
// };

// TIM1 is master for TIM3 and TIM8 synchronization
&timers1 {
	compatible = "rubus,stm32-timers";
	st,prescaler = <0>;
	status = "okay";
	st,countermode = <STM32_TIM_COUNTERMODE_CENTER_UP_DOWN>;
	st,master-mode;
	st,master-mode-selection = <0x10>; // LL_TIM_TRGO_ENABLE - sync TIM3 and TIM8

	pwm1:mcpwm {
		period = <PWM_KHZ(20)>;
		st,cc-dma-channels = <4>;
		status = "okay";
		#pwm-cells = <2>;
	};
};

// TIM3 is slave of TIM1
&timers3 {
	compatible = "rubus,stm32-timers";
	st,prescaler = <0>;
	status = "okay";
	st,countermode = <STM32_TIM_COUNTERMODE_UP>;
	st,slave-mode;
	st,slave-mode-selection = <0x6>; // LL_TIM_SLAVEMODE_TRIGGER
	st,trigger-selection = <0x00>; // ITR0 = TIM1

	pwm3:mcpwm {
		compatible = "st,stm32-mcpwm";
		period = <PWM_KHZ(20)>;
		status = "okay";
		#pwm-cells = <2>;
	};
};

// TIM8 is slave of TIM1
&timers8 {
	compatible = "rubus,stm32-timers";
	st,prescaler = <0>;
	status = "okay";
	st,countermode = <STM32_TIM_COUNTERMODE_CENTER_UP_DOWN>;
	st,slave-mode;
	st,slave-mode-selection = <0x6>; // LL_TIM_SLAVEMODE_TRIGGER
	st,trigger-selection = <0x00>; // ITR0 = TIM1

	pwm8:mcpwm {
		compatible = "st,stm32-mcpwm";
		period = <PWM_KHZ(20)>;
		status = "okay";
		#pwm-cells = <2>;
	};
};
```

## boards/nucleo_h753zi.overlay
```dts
#include <zephyr/dt-bindings/timer/stm32-timer.h>
#include <zephyr/dt-bindings/pwm/pwm.h>
#include <dt-bindings/pwm/stm32-mcpwm.h>

/ {
	aliases {
		encoder1 = &aeat9955;
	};

	chosen {
    	zephyr,itcm = &itcm;
		zephyr,dtcm = &dtcm;
	};
};

&dmamux1 {
	status = "okay";
};

&dma1 {
	status = "okay";
};

&dma2 {
	status = "okay";
};

&spi3 {
	status = "okay";
	fifo-enable;

	pinctrl-0 = <&spi3_sck_pb3 &spi3_miso_pb4 &spi3_mosi_pb5 &spi3_nss_pa15>;
	// cs-gpios = <&gpioa 15 (GPIO_ACTIVE_LOW | GPIO_PULL_UP)>;
	pinctrl-names = "default";

	mt6835: mt6835@0 {
		compatible = "magntek,mt6835";
		reg = <0>;
		spi-max-frequency = <DT_FREQ_M(12)>;
		cal-en-gpios = <&gpiog 13 GPIO_ACTIVE_HIGH>;
		status = "okay";
	};
	aeat9955: aeat9955@1 {
		compatible = "brcm,aeat-9955";
		reg = <1>;
		spi-max-frequency = <DT_FREQ_M(4)>;
		status = "okay";
	};
};

// TIM1 is master for TIM3 and TIM8 synchronization
&timers1 {
	compatible = "rubus,stm32-timers";
	st,prescaler = <0>;
	status = "okay";
	st,countermode = <STM32_TIM_COUNTERMODE_CENTER_UP_DOWN>;
	st,master-mode;
	st,master-mode-selection = <0x10>; // LL_TIM_TRGO_ENABLE - sync TIM3 and TIM8

	pwm1:mcpwm {
		compatible = "st,stm32-mcpwm";
		pinctrl-0 = <&tim1_ch1_pa8 &tim1_ch2_pa9 &tim1_ch4_pe14>;
		pinctrl-names = "default";
		period = <PWM_KHZ(20)>;
		status = "okay";
		#pwm-cells = <2>;
	};
};

// TIM3 is slave of TIM1
&timers3 {
	compatible = "rubus,stm32-timers";
	st,prescaler = <0>;
	status = "okay";
	st,countermode = <STM32_TIM_COUNTERMODE_UP>;
	st,slave-mode;
	st,slave-mode-selection = <0x6>; // LL_TIM_SLAVEMODE_TRIGGER
	st,trigger-selection = <0x00>; // ITR0 = TIM1

	pwm3:mcpwm {
		compatible = "st,stm32-mcpwm";
		pinctrl-0 = <&tim3_ch1_pc6>;
		pinctrl-names = "default";
		period = <PWM_KHZ(20)>;
		status = "okay";
		#pwm-cells = <2>;
	};
};

// TIM8 is slave of TIM1
&timers8 {
	compatible = "rubus,stm32-timers";
	st,prescaler = <0>;
	status = "okay";
	st,countermode = <STM32_TIM_COUNTERMODE_CENTER_UP_DOWN>;
	st,slave-mode;
	st,slave-mode-selection = <0x6>; // LL_TIM_SLAVEMODE_TRIGGER
	st,trigger-selection = <0x00>; // ITR0 = TIM1

	pwm8:mcpwm {
		compatible = "st,stm32-mcpwm";
		pinctrl-0 = <&tim8_ch1_pc6 &tim8_ch2_pc7>;
		pinctrl-names = "default";
		period = <PWM_KHZ(20)>;
		status = "okay";
		#pwm-cells = <2>;
	};
};

&adc1 {
	compatible = "st,stm32-adc-injected";
	pinctrl-0 = <&adc1_inp15_pa3 &adc1_inp11_pc1 &adc1_inp10_pc0 >;
	pinctrl-names = "default";
	st,adc-clock-source = "SYNC";
	st,adc-prescaler = <4>;
	resolution = <12>;
	status = "okay";

	st,adc-trigger-source = "TIM1_CH4";

	#address-cells = <1>;
	#size-cells = <0>;

	channel@F {
		reg = <15>;
		zephyr,gain = "ADC_GAIN_1";
		zephyr,reference = "ADC_REF_INTERNAL";
		zephyr,acquisition-time = <ADC_ACQ_TIME_DEFAULT>;
	};

	channel@B {
		reg = <11>;
		zephyr,gain = "ADC_GAIN_1";
		zephyr,reference = "ADC_REF_INTERNAL";
		zephyr,acquisition-time = <ADC_ACQ_TIME_DEFAULT>;
	};

	channel@A {
		reg = <10>;
		zephyr,gain = "ADC_GAIN_1";
		zephyr,reference = "ADC_REF_INTERNAL";
		zephyr,acquisition-time = <ADC_ACQ_TIME_DEFAULT>;
	};
};

/ {
		/* Current sampler config, ADC channels */
	/* FIXME: Add drv8328 driver */
	/* drv8328 needs function to wiggle SLEEP to reset an error */
	// Need to configure ADC trigger LL_TIM_CC_EnableChannel(config->timer, LL_TIM_CHANNEL_4)
	control {
		// ADC for current (A, B), bus voltage
		// adc-channels = <&adc1 0>,
		// 	<&adc1 1>,
		// 	<&adc1 5>;
		// current-sense-resistor-uohms = <10000>;
		// current-sense-gain = <50>;
		// phase-inductance-uh = <3400>;
		// phase-resistance-mohms = <5600>;

		current-sense-resistor-uohms = <10000>;
		current-sense-gain = <50>;
		phase-inductance-uh = <3000>;
		phase-resistance-mohms = <1600>;

		pwms = <&pwm1 4 (PWM_POLARITY_NORMAL | STM32_PWM_OC_MODE_PWM2)>;
		amp1 {
			compatible = "ti,drv8328";

			/* If FAULT interrupt is used instead of BRKIN */
			/* Fault interrupt should turn off PWM */
			// fault-gpios = <&gpioi 4 (GPIO_ACTIVE_LOW | GPIO_PULL_UP)>;

			// sleep-gpios = <&gpiog 14 GPIO_ACTIVE_HIGH>;

			pwms = <&pwm1 1 PWM_POLARITY_NORMAL>,
				   <&pwm1 2 PWM_POLARITY_NORMAL>;
		};

		amp2 {
			compatible = "ti,drv8328";

			/* If FAULT interrupt is used instead of BRKIN */
			// fault-gpios = <&gpiob 15 (GPIO_ACTIVE_LOW | GPIO_PULL_UP)>;

			// sleep-gpios = <&gpiod 8 GPIO_ACTIVE_HIGH>;

			pwms = <&pwm8 1 PWM_POLARITY_NORMAL>,
				   <&pwm8 2 PWM_POLARITY_NORMAL>;
		};
	};
};
```

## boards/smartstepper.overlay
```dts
/*
 * Copyright (c) 2021 Nordic Semiconductor ASA
 * SPDX-License-Identifier: Apache-2.0
 */

#include <zephyr/dt-bindings/dma/stm32_dma.h>
#include <dt-bindings/current-sense.h>

/ {
	user_parameters: user_parameters {
		compatible = "rubus,user-parameters";
		nominal_voltage-mv = <24000>;
		pwm-frequency-hz = <20000>;
		control-loop-frequency-hz = <20000>;
		current-loop-bandwidth-hz = <150>;
		current-command-ramp-ms = <100>;
		offset-pole-hz = <300>;
		align-current-ma = <67>;
		align-duration-ms = <100>;
		brake-current-ma = <1000>;
		max-modulation-index-mpu = <950>;  /* 0.95 - reserves 5% voltage margin for H-bridge control headroom */
		roverl-est-current-ma = <100>;   /* 10-20% of rated (0.67A motor) */
		roverl-est-freq-hz = <250>;     /* Increase if motor twitches */
		roverl-est-settling-ms = <50>;  /* PI settling before measurement */
		roverl-est-duration-ms = <5000>;
		rls-excitation-current-ma = <100>; /* PRBS amplitude for RLS identification */
		velocity-max-hz = <50>;         /* Maximum velocity (50 Hz = 3000 RPM) */
		velocity-max-accel-hz-per-s = <10>; /* Acceleration limit */
		velocity-initial-hz = <0>;      /* Start from stopped */
		encoder-direction-sign = <(-1)>; /* Verified mapping: negative sign aligns encoder with generated motion */
	};

	voltage_sense: voltage_sense {
		compatible = "rubus,voltage-sense";
		channel = <0>;
		adc-buffer-index = <2>;
		vref-mv = <3000>;
		output-ohms = <10000>;
		full-ohms = <(191000 + 10000)>;
	};

	current_sense: current_sense {
		compatible = "rubus,current-sense";
		channels = <1 CURRENT_SENSE_POSITIVE>, <2 CURRENT_SENSE_POSITIVE>;
		adc-buffer-indices = <0 1>;
		current-sense-resistor-uohms = <10000>;
		current-sense-gain = <50>;
		vref-mv = <3000>;
	};

	motor_parameters: motor_parameters {
		compatible = "rubus,motor-parameters";
		inductance-d-uh = <3400>;
		inductance-q-uh = <3400>;
		resistance-mohms = <5600>;
		pole-pairs = <50>;
		max-current-ma = <670>;
		inertia-mgcm2 = <9000>;
		max-speed-hz = <50>;
	};

	angle_observer: angle_observer {
		compatible = "rubus,angle-observer";
		/* Observer bandwidth in Hz (position tracking) */
		bandwidth-hz = <200>;
	};

	fault_detection: fault_detection {
		compatible = "rubus,fault-detection";
		/* Consecutive encoder read failures before triggering fault */
		encoder-fault-threshold = <100>;
		/* Overcurrent threshold in milliamps (typically 120% of max) */
		overcurrent-threshold-ma = <800>;  /* 120% of 0.67A max current */
	};
};

/ {
	model = "Smart Stepper Controller";
	compatible = "rubus,smartstepper";

	chosen {
		zephyr,console = &usart1;
		zephyr,shell-uart = &usart1;
	};

	aliases {
		encoder1 = &aeat9955;
	};

	photo_interruptor_enable {
		compatible = "rubus,app-gpio";
		gpios = <&gpioe 1 GPIO_ACTIVE_HIGH>;
		status = "okay";
	};

	trig {
		compatible = "rubus,app-gpio";
		gpios = <&gpiob 9 GPIO_ACTIVE_HIGH>;
		status = "okay";
	};
};

// / {
// 	fstab {
// 		compatible = "zephyr,fstab";
// 		lfs1: lfs1 {
// 			compatible = "zephyr,fstab,littlefs";
// 			read-size = <32>;
// 			prog-size = <32>;
// 			cache-size = <256>;
// 			lookahead-size = <64>;
// 			block-cycles = <512>;
// 			partition = <&filesystem>;
// 			mount-point = "/lfs1";
// 		};
// 	};
// };

&usart1 {
	status = "okay";
};

&spi1 {
	// dmas = <&dma2 3 5 (STM32_DMA_PERIPH_TX | STM32_DMA_MEM_8BITS)>,
	// 	<&dma2 3 0 (STM32_DMA_PERIPH_RX | STM32_DMA_MEM_8BITS)>;

	// dma-names = "tx", "rx";
};

&dma1 {
	status = "okay";
};

&dma2 {
	status = "okay";
};

&spi2 {
	status = "okay";
};

&spi3 {
	status = "okay";

	aeat9955: aeat9955@0 {
		compatible = "brcm,aeat-9955";
		reg = <0>;
		spi-max-frequency = <DT_FREQ_M(4)>;
		status = "okay";
	};
};

// TIM1 is master for TIM3 and TIM8 synchronization
&timers1 {
	compatible = "rubus,stm32-timers";
	st,prescaler = <0>;
	status = "okay";
	st,countermode = <STM32_TIM_COUNTERMODE_CENTER_UP_DOWN>;
	st,master-mode;
	st,master-mode-selection = <0x10>; // LL_TIM_TRGO_ENABLE - sync TIM3 and TIM8

	pwm1:mcpwm {
		period = <PWM_KHZ(20)>;
		status = "okay";
		#pwm-cells = <2>;
	};
};

// TIM3 is slave of TIM1
&timers3 {
	compatible = "rubus,stm32-timers";
	st,prescaler = <0>;
	status = "okay";
	st,countermode = <STM32_TIM_COUNTERMODE_UP>;
	st,slave-mode;
	st,slave-mode-selection = <0x6>; // LL_TIM_SLAVEMODE_TRIGGER
	st,trigger-selection = <0x00>; // ITR0 = TIM1

	pwm3:mcpwm {
		compatible = "st,stm32-mcpwm";
		period = <PWM_KHZ(20)>;
		status = "okay";
		#pwm-cells = <2>;
	};
};

// TIM8 is slave of TIM1
&timers8 {
	compatible = "rubus,stm32-timers";
	st,prescaler = <0>;
	status = "okay";
	st,countermode = <STM32_TIM_COUNTERMODE_CENTER_UP_DOWN>;
	st,slave-mode;
	st,slave-mode-selection = <0x6>; // LL_TIM_SLAVEMODE_TRIGGER
	st,trigger-selection = <0x00>; // ITR0 = TIM1

	pwm8:mcpwm {
		period = <PWM_KHZ(20)>;
		status = "okay";
		#pwm-cells = <2>;
	};
};

// Timer 4 is used for input capture of clock generator and photo-interrupter
&timers4 {
	compatible = "rubus,stm32-timers";
	st,prescaler = <0>;
	status = "okay";
	st,master-mode;
	st,countermode = <STM32_TIM_COUNTERMODE_UP>;

	triggers: triggers {
		compatible = "st,stm32-timer-ic";
		pinctrl-0 = <&tim4_ch1_pd12 &tim4_ch2_pd13>;
		pinctrl-names = "default";
		status = "okay";
	};
};

&adc1 {
	compatible = "st,stm32-adc-injected";
	status = "okay";
	resolution = <12>;
	st,adc-trigger-source = "TIM1_CH4";
	st,adc-trigger-edge = "rising";
};
```

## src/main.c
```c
/*
 * Copyright (c) 2012-2014 Wind River Systems, Inc.
 *
 * SPDX-License-Identifier: Apache-2.0
 */

#include <stdio.h>

#include <zephyr/logging/log.h>
#include <zephyr/kernel.h>
#include <zephyr/device.h>
#include <zephyr/drivers/sensor.h>
#include <zephyr/smf.h>
#include <zephyr/settings/settings.h>

#include "motor_states.h"
#include "motor_isr.h"
#include "motor_hardware.h"
#include "motor_control_api.h"
#include "config.h"
#include "shell_commands.h"
#include "app_update.h"

LOG_MODULE_REGISTER(main, CONFIG_APP_LOG_LEVEL);

int main(void)
{
	if (IS_ENABLED(CONFIG_SETTINGS)) {
		int rc = settings_subsys_init();

		if (rc != 0) {
			LOG_WRN("Settings init failed: %d", rc);
		} else {
			rc = settings_load();
			if (rc != 0) {
				LOG_WRN("Settings load failed: %d", rc);
			}
		}
	}

	app_update_init();

	/* Get motor parameters pointer from state machine */
	struct motor_parameters *params = motor_sm_get_params();

	/* Set shell access to motor parameters */
	shell_set_motor_params(params);

	/* Create and start state machine thread */
	motor_sm_thread_run();

	LOG_INF("Motor state machine thread started");

	while (1) {
		k_sleep(K_SECONDS(10));
		// LOG_INF("Main thread alive");
	}

	return 0;
}
```

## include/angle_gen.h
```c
/*
 * Copyright (c) 2025 Rubus Technologies Inc.
 *
 * SPDX-License-Identifier: Apache-2.0
 */

#ifndef ANGLE_GEN_H
#define ANGLE_GEN_H

#ifdef __cplusplus
extern "C" {
#endif

#include <math.h>
#include <zephyr/dsp/types.h>

#ifndef PI_F32
#define PI_F32 3.14159265358979323846f
#endif

/**
 * @brief Angle generator object
 * 
 * Generates a continuously incrementing angle at a specified frequency.
 * Useful for open-loop excitation, test signals, and reference frame generation.
 */
typedef struct {
	float32_t freq_hz;              //!< Current frequency in Hz
	float32_t angle_delta_factor;   //!< Precalculated: 2*pi * ctrl_period_sec
	float32_t angle_delta_rad;      //!< Angle increment per iteration, rad
	float32_t angle_rad;            //!< Current angle output value, rad [-pi, pi]
} angle_gen_t;

/**
 * @brief Initialize angle generator
 * 
 * @param gen Pointer to angle generator structure
 * @param ctrl_period_sec Control loop period in seconds
 */
static inline void angle_gen_init(angle_gen_t *gen, float32_t ctrl_period_sec)
{
	gen->freq_hz = 0.0f;
	gen->angle_delta_factor = 2.0f * PI_F32 * ctrl_period_sec;
	gen->angle_delta_rad = 0.0f;
	gen->angle_rad = 0.0f;
}

/**
 * @brief Set angle generator frequency
 * 
 * @param gen Pointer to angle generator structure
 * @param freq_hz Desired frequency in Hz
 */
static inline void angle_gen_set_freq(angle_gen_t *gen, float32_t freq_hz)
{
	gen->freq_hz = freq_hz;
	gen->angle_delta_rad = freq_hz * gen->angle_delta_factor;
}

/**
 * @brief Set angle generator angle directly
 * 
 * @param gen Pointer to angle generator structure
 * @param angle_rad Desired angle in radians
 */
static inline void angle_gen_set_angle(angle_gen_t *gen, float32_t angle_rad)
{
	gen->angle_rad = angle_rad;
}

/**
 * @brief Get current angle
 * 
 * @param gen Pointer to angle generator structure
 * @return Current angle in radians [-pi, pi]
 */
static inline float32_t angle_gen_get_angle(const angle_gen_t *gen)
{
	return gen->angle_rad;
}

/**
 * @brief Get current angle in degrees
 * 
 * @param gen Pointer to angle generator structure
 * @return Current angle in degrees [-180, 180]
 */
static inline float32_t angle_gen_get_angle_deg(const angle_gen_t *gen)
{
	return gen->angle_rad * (180.0f / PI_F32);
}

/**
 * @brief Run angle generator (call once per control loop iteration)
 * 
 * Increments the angle by the precalculated delta and wraps to [-pi, pi].
 * 
 * @param gen Pointer to angle generator structure
 */
static inline void angle_gen_run(angle_gen_t *gen)
{
	float32_t angle_rad = gen->angle_rad + gen->angle_delta_rad;

	/* Wrap angle to [-pi, pi] range */
	if (angle_rad > PI_F32) {
		angle_rad -= 2.0f * PI_F32;
	} else if (angle_rad < -PI_F32) {
		angle_rad += 2.0f * PI_F32;
	}

	gen->angle_rad = angle_rad;
}

#ifdef __cplusplus
}
#endif

#endif /* ANGLE_GEN_H */
```

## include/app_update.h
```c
/*
 * Copyright (c) 2026 Rubus Technologies Inc
 * SPDX-License-Identifier: Apache-2.0
 */

#ifndef APP_UPDATE_H_
#define APP_UPDATE_H_

#include <stdbool.h>

struct app_update_status {
	bool mcuboot_enabled;
	bool confirmed;
	int active_slot;
	int swap_type;
};

void app_update_init(void);
void app_update_get_status(struct app_update_status *status);
const char *app_update_swap_type_to_string(int swap_type);
int app_update_confirm(void);
int app_update_request_test(void);
int app_update_request_permanent(void);

#endif /* APP_UPDATE_H_ */
```

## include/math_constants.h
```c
/*
 * Copyright (c) 2025 Rubus Technologies Inc.
 *
 * SPDX-License-Identifier: Apache-2.0
 */

#ifndef MATH_CONSTANTS_H_
#define MATH_CONSTANTS_H_

#include <math.h>

/**
 * @file math_constants.h
 * @brief Mathematical constants and utilities
 *
 * M_PI is not guaranteed by the C standard, so we define our own float version.
 */

#ifndef PI_F32
#define PI_F32 3.14159265358979323846f
#endif

/**
 * @brief Clamp a floating-point value between min and max
 *
 * @param value Value to clamp
 * @param min Minimum value
 * @param max Maximum value
 * @return Clamped value in range [min, max]
 */
static inline float clampf(float value, float min, float max)
{
	return fmaxf(fminf(value, max), min);
}

#endif /* MATH_CONSTANTS_H_ */
```

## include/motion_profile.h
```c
/*
 * Copyright (c) 2026 Rubus Technologies Inc.
 *
 * SPDX-License-Identifier: Apache-2.0
 */

#ifndef MOTION_PROFILE_H_
#define MOTION_PROFILE_H_

#include <stdbool.h>
#include <stdint.h>
#include <zephyr/dsp/types.h>

#ifdef __cplusplus
extern "C" {
#endif

/**
 * @brief Single quintic position segment state.
 *
 * Position polynomial in time:
 *   p(t) = c0 + c1*t + c2*t^2 + c3*t^3 + c4*t^4 + c5*t^5
 */
struct motion_profile_quintic {
	float32_t sample_period_s;
	float32_t duration_s;
	float32_t t_s;
	float32_t c[6];

	float32_t start_position_rad;
	float32_t end_position_rad;
	float32_t start_velocity_rad_s;
	float32_t end_velocity_rad_s;

	float32_t position_rad;
	float32_t velocity_rad_s;
	float32_t acceleration_rad_s2;

	bool active;
	bool valid;
};

/**
 * @brief Initialize a quintic motion profile.
 *
 * @param profile Profile instance
 * @param sample_period_s Control loop period in seconds
 */
void motion_profile_quintic_init(struct motion_profile_quintic *profile, float32_t sample_period_s);

/**
 * @brief Plan a quintic segment with arbitrary endpoint velocity and acceleration.
 *
 * @param profile Profile instance
 * @param pos_start_rad Start position (rad)
 * @param vel_start_rad_s Start velocity (rad/s)
 * @param acc_start_rad_s2 Start acceleration (rad/s^2)
 * @param pos_end_rad End position (rad)
 * @param vel_end_rad_s End velocity (rad/s)
 * @param acc_end_rad_s2 End acceleration (rad/s^2)
 * @param duration_s Segment duration (s), must be > 0
 * @return 0 on success, negative errno on failure
 */
int motion_profile_quintic_plan(struct motion_profile_quintic *profile,
				float32_t pos_start_rad, float32_t vel_start_rad_s,
				float32_t acc_start_rad_s2, float32_t pos_end_rad,
				float32_t vel_end_rad_s, float32_t acc_end_rad_s2,
				float32_t duration_s);

/**
 * @brief Advance profile by one control sample.
 *
 * If the profile reaches its end time, @p active is cleared and endpoint values are held.
 *
 * @param profile Profile instance
 */
void motion_profile_quintic_step(struct motion_profile_quintic *profile);

/**
 * @brief Cancel current profile and hold a position.
 *
 * @param profile Profile instance
 * @param hold_position_rad Position to hold after cancel
 */
void motion_profile_quintic_cancel(struct motion_profile_quintic *profile, float32_t hold_position_rad);

/**
 * @brief Check profile against velocity/acceleration limits.
 *
 * @param profile Profile instance
 * @param max_velocity_rad_s Positive limit in rad/s (<=0 disables check)
 * @param max_accel_rad_s2 Positive limit in rad/s^2 (<=0 disables check)
 * @param samples Number of uniform samples over the segment (minimum 2)
 * @param peak_velocity_rad_s Optional output peak absolute velocity
 * @param peak_accel_rad_s2 Optional output peak absolute acceleration
 * @return 0 if within limits, -ERANGE if limit exceeded, negative errno on invalid args
 */
int motion_profile_quintic_check_limits(const struct motion_profile_quintic *profile,
					float32_t max_velocity_rad_s, float32_t max_accel_rad_s2,
					uint32_t samples, float32_t *peak_velocity_rad_s,
					float32_t *peak_accel_rad_s2);

static inline bool motion_profile_quintic_is_active(const struct motion_profile_quintic *profile)
{
	return profile->active;
}

static inline float32_t motion_profile_quintic_get_position(
	const struct motion_profile_quintic *profile)
{
	return profile->position_rad;
}

static inline float32_t motion_profile_quintic_get_velocity(
	const struct motion_profile_quintic *profile)
{
	return profile->velocity_rad_s;
}

static inline float32_t motion_profile_quintic_get_accel(
	const struct motion_profile_quintic *profile)
{
	return profile->acceleration_rad_s2;
}

#ifdef __cplusplus
}
#endif

#endif /* MOTION_PROFILE_H_ */
```
